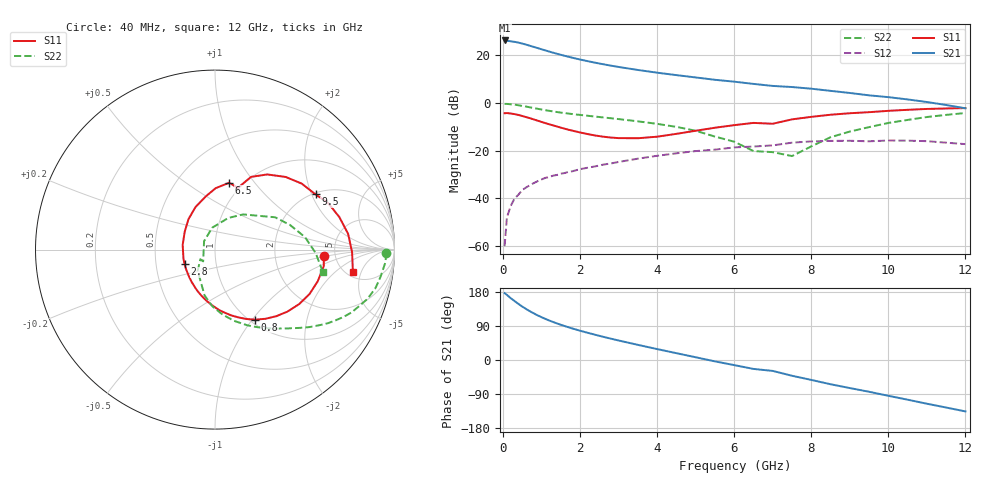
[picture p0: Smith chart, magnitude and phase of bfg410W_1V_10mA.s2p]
! Filename: 110bfg410.001
! BFG410W Field B1
! V1=8.855E-001V,V2=1.000E+000V, I1=1.679E-004A, I2=1.000E-002A
# GHz  S  MA  R 50
!  S11  S21  S12  S22
!Freq(GHz)  Mag  Ang  Mag  Ang  Mag  Ang  Mag  Ang
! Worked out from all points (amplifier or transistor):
!   44 points, 40 MHz to 12 GHz, reference 50 ohm
!   highest |S21| = 26.1 dB at 40 MHz (marker M1)
!   |S21| within 3 dB of that: start of sweep to 857.9 MHz
!   unconditionally stable (mu >= 1): start of sweep to 53.37 MHz; 1.683 GHz to end of sweep
!   at 700 MHz: K = 0.57, MSG = 29.2 dB, |S12| = -34.4 dB
!   at 2.4 GHz: K = 1.18, MAG = 19.1 dB, |S12| = -26.6 dB
!   at 12 GHz: K = 1.54, MAG = 3.2 dB, |S12| = -17.3 dB
!   S11 on the Smith chart (normalised r, x): 40 MHz: 4.03, -0.46; 800 MHz: 1.06, -1.03; 2.8 GHz: 0.70, -0.12; 6.5 GHz: 0.87, +0.76; 9.5 GHz: 2.05, +2.13; 12 GHz: 5.73, -3.57
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0.04  0.607 -3.4  20.29 176.5  0.001 67.1  0.953 -1.1
0.1  0.613 -8.7  20.03 171.8  0.004 85.8  0.953 -4.0
0.2  0.599 -17.1  19.45 163.1  0.007 80.3  0.935 -9.3
0.3  0.582 -25.1  18.98 155.5  0.01 76.6  0.919 -13.6
0.4  0.559 -32.8  18.27 147.9  0.012 73.0  0.893 -17.9
0.5  0.531 -40.7  17.45 140.9  0.015 69.6  0.863 -21.4
0.6  0.504 -47.4  16.59 134.5  0.017 66.7  0.837 -24.7
0.8  0.45 -60.1  14.83 122.9  0.021 62.2  0.778 -30.5
1.1  0.377 -76.3  12.54 108.4  0.027 57.6  0.703 -37.3
1.4  0.32 -90.4  10.69 96.5  0.031 54.7  0.644 -42.6
1.8  0.262 -108.5  8.823 83.2  0.037 51.7  0.584 -48.8
2.2  0.222 -126.0  7.465 71.7  0.044 49.0  0.537 -54.8
2.8  0.188 -154.1  6.022 56.3  0.054 44.1  0.477 -63.8
3.5  0.182 171.7  4.888 39.9  0.068 37.0  0.411 -75.0
4.5  0.225 131.0  3.816 18.0  0.088 24.3  0.315 -92.9
5.5  0.302 99.5  3.045 -3.7  0.105 8.9  0.197 -113.6
6.5  0.381 78.0  2.498 -23.5  0.122 -5.3  0.098 -146.7
7.5  0.452 63.7  2.149 -41.6  0.147 -17.0  0.077 142.3
8.5  0.565 45.7  1.787 -64.0  0.16 -38.9  0.191 67.3
9.5  0.639 28.8  1.439 -83.8  0.157 -57.7  0.311 37.1
10.5  0.716 14.7  1.182 -104.7  0.162 -77.3  0.44 18.2
12  0.778 -9.1  0.771 -135.7  0.137 -112.6  0.614 -11.8
